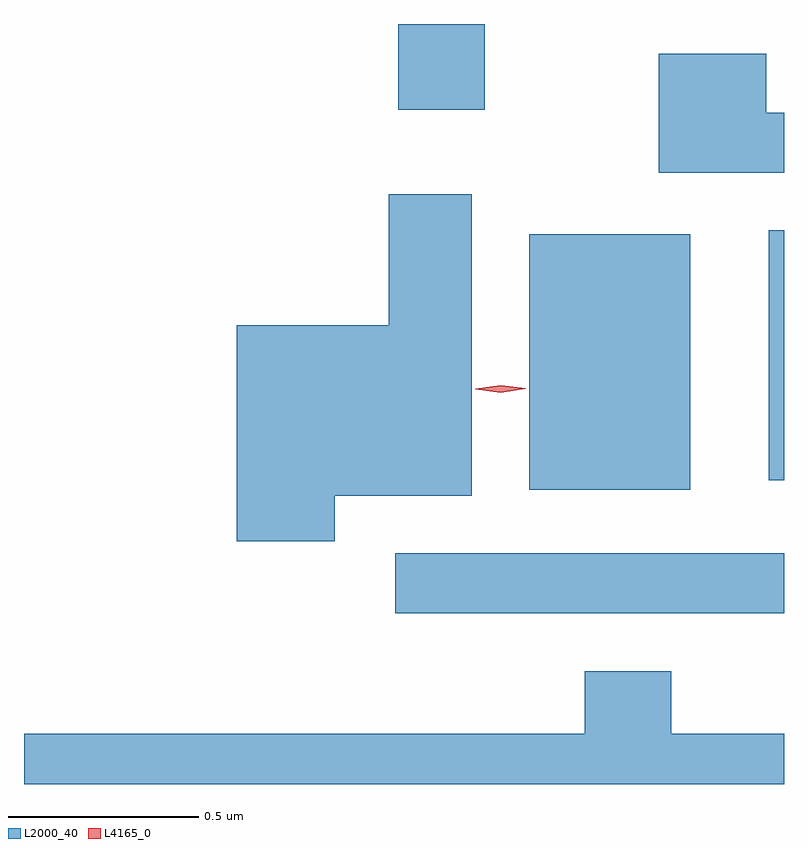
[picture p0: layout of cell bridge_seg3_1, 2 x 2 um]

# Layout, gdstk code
import gdstk
lib = gdstk.Library(unit=1e-6, precision=1e-09)
def R(c, l, rs):  # rectangles x0, y0, x1, y1
    for r in rs: c.add(gdstk.rectangle(r[:2], r[2:], *l))
def P(c, l, *ps):  # polygons
    for p in ps: c.add(gdstk.Polygon(p, *l))
L2000_40 = (2000, 40)
L4165_0 = (4165, 0)

bridge_seg3_1 = lib.new_cell('bridge_seg3_1')
R(bridge_seg3_1, L2000_40, [(1129.213,1250.921,1130.236,1251.079), (1129.566,1251.246,1129.989,1251.919), (1130.196,1251.271,1130.236,1251.929), (1129.221,1252.246,1129.449,1252.472)])
P(bridge_seg3_1, L2000_40, [(1130.236,1252.239),(1130.189,1252.239),(1130.189,1252.394),(1129.906,1252.394),(1129.906,1252.081),(1130.236,1252.081)],
  [(1129.054,1251.231),(1129.414,1251.231),(1129.414,1252.024),(1129.196,1252.024),(1129.196,1251.679),(1128.796,1251.679),(1128.796,1251.111),(1129.054,1251.111)],
  [(1130.236,1250.604),(1129.939,1250.604),(1129.939,1250.769),(1129.711,1250.769),(1129.711,1250.604),(1128.236,1250.604),(1128.236,1250.472),(1130.236,1250.472)])
P(bridge_seg3_1, L4165_0, [(1129.49,1251.502),(1129.424,1251.511),(1129.423,1251.512),(1129.424,1251.512),(1129.49,1251.522),(1129.556,1251.513),(1129.556,1251.512),(1129.556,1251.512)])

lib.write_gds('bridge_seg3_1.gds')
